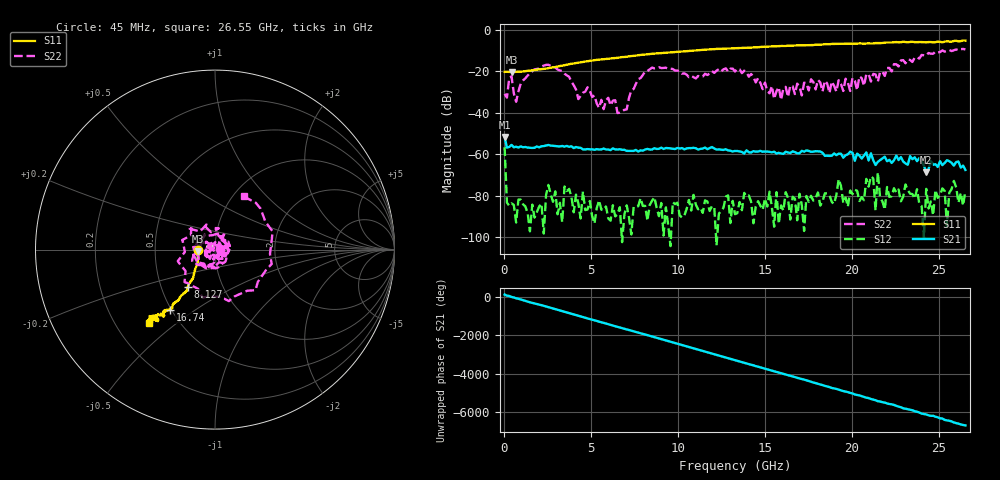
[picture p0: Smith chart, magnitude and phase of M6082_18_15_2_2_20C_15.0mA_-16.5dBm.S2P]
!  2-Port S-parameters saved by WinCal
! VAR MeasName=S-Parameters (CALIBRATED_DATA) read from VNA (C)
! VAR MeasDate=9/29/2015 3:07:02 PM
! VAR NAME=M6082_18_15_2_2_20C_15.0mA_-16.5dBm
! VAR FILENAME=M6082_18_15_2_2_20C_15.0mA_-16.5dBm.S2P
! VAR DATE=9/29/2015 3:07:02 PM
! VAR PHYS_PORTS=2,1
! VAR ObjTypeName=DATASET
! VAR IndexType=Frequency
# Hz S RI R 50
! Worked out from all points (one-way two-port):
!   201 points, 45 MHz to 26.55 GHz, reference 50 ohm
!   highest |S21| = -51.63 dB at 45 MHz (marker M1); lowest = -68.6 dB at 24.29 GHz (marker M2)
!   lowest |S11| = -20.3 dB at 442.5 MHz (marker M3), VSWR 1.21, Z = 41.2 - j0.798 ohm
!   |S11| at or under -10 dB: start of sweep to 10.96 GHz
!   |S22| runs from -40.1 to -9.2 dB; largest |S21 - S12| = 0.0041
!   S11 on the Smith chart (normalised r, x): 45 MHz: 0.82, -0.00; 8.127 GHz: 0.69, -0.30; 16.74 GHz: 0.49, -0.40; 26.55 GHz: 0.34, -0.40
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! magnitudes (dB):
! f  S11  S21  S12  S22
! 45 MHz  -20.3  -51.6  -56.6  -30.9
! 177.5 MHz  -20.2  -56.8  -83.3  -32.7
! 442.5 MHz  -20.3  -55.4  -83.6  -22.4
! 707.5 MHz  -20.2  -56.3  -92.8  -34.7
! 2.43 GHz  -18.7  -55.7  -79.5  -16.9
! 4.55 GHz  -15.5  -57.6  -77.9  -30.3
! 6.67 GHz  -13.3  -57.5  -85.5  -39.9
! 8.127 GHz  -11.9  -57.7  -84.8  -20.0
! 8.922 GHz  -11.3  -57.3  -89.8  -18.0
! 13.29 GHz  -8.9  -58.4  -88.8  -20.1
! 16.74 GHz  -7.6  -58.9  -81.4  -31.0
! 17.8 GHz  -7.3  -58.7  -82.3  -25.1
! 19.12 GHz  -6.8  -60.4  -79.6  -29.8
! 19.26 GHz  -6.8  -59.7  -72.0  -24.3
! 20.71 GHz  -6.7  -60.6  -82.1  -27.0
! 21.11 GHz  -6.6  -59.5  -70.6  -24.9
! 21.38 GHz  -6.4  -65.1  -87.0  -21.5
! 21.51 GHz  -6.4  -63.6  -68.7  -24.9
! 21.64 GHz  -6.4  -62.8  -81.2  -20.3
! 22.17 GHz  -6.1  -62.6  -80.5  -18.4
! 24.29 GHz  -6.0  -68.6  -76.6  -12.5
! 26.55 GHz  -5.2  -67.5  -77.6  -9.5
